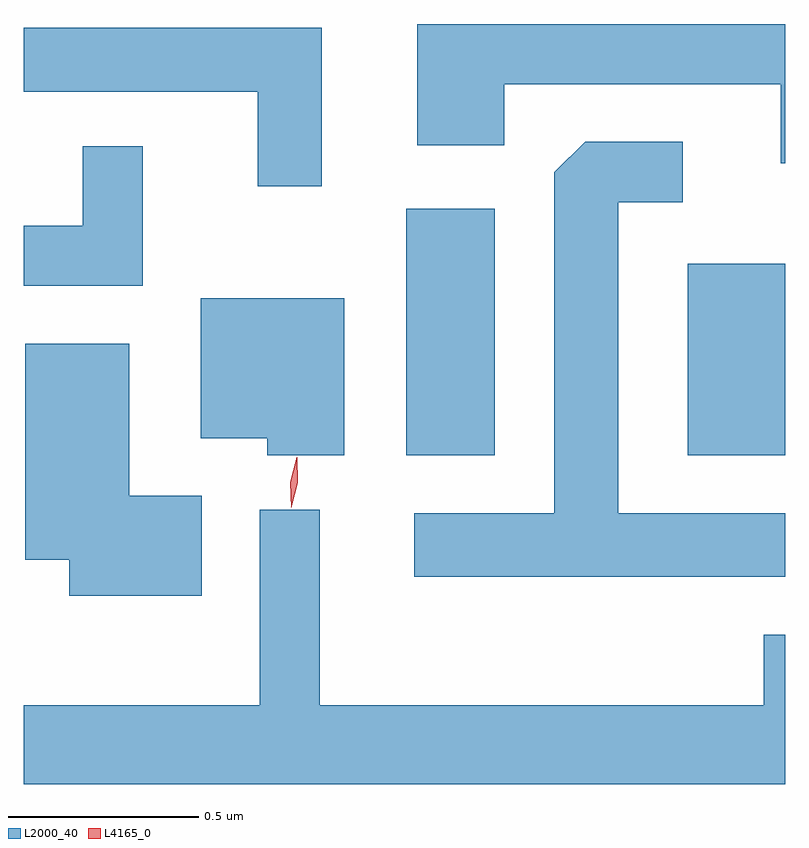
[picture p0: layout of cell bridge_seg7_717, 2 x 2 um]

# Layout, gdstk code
import gdstk
lib = gdstk.Library(unit=1e-6, precision=1e-09)
def R(c, l, rs):  # rectangles x0, y0, x1, y1
    for r in rs: c.add(gdstk.rectangle(r[:2], r[2:], *l))
def P(c, l, *ps):  # polygons
    for p in ps: c.add(gdstk.Polygon(p, *l))
L2000_40 = (2000, 40)
L4165_0 = (4165, 0)

bridge_seg7_717 = lib.new_cell('bridge_seg7_717')
R(bridge_seg7_717, L2000_40, [(963.431,1686.381,963.664,1687.029), (964.171,1686.381,964.427,1686.884)])
P(bridge_seg7_717, L2000_40, [(964.427,1687.514),(963.461,1687.514),(963.461,1687.196),(963.689,1687.196),(963.689,1687.356),(964.416,1687.356),(964.416,1687.148),(964.427,1687.148)],
  [(963.209,1687.504),(962.427,1687.504),(962.427,1687.336),(963.041,1687.336),(963.041,1687.088),(963.209,1687.088)],
  [(964.427,1686.229),(963.989,1686.229),(963.989,1687.046),(964.158,1687.046),(964.158,1687.204),(963.902,1687.204),(963.821,1687.124),(963.821,1686.229),(963.453,1686.229),(963.453,1686.061),(964.427,1686.061)],
  [(962.739,1687.193),(962.581,1687.193),(962.581,1686.984),(962.427,1686.984),(962.427,1686.826),(962.739,1686.826)],
  [(963.269,1686.794),(962.891,1686.794),(962.891,1686.426),(963.066,1686.426),(963.066,1686.381),(963.269,1686.381)],
  [(962.894,1686.274),(962.704,1686.274),(962.704,1686.674),(962.431,1686.674),(962.431,1686.106),(962.546,1686.106),(962.546,1686.011),(962.894,1686.011)],
  [(964.427,1685.909),(964.371,1685.909),(964.371,1685.724),(963.204,1685.724),(963.204,1686.238),(963.046,1686.238),(963.046,1685.724),(962.427,1685.724),(962.427,1685.517),(964.427,1685.517)])
P(bridge_seg7_717, L4165_0, [(963.129,1686.243),(963.129,1686.243),(963.127,1686.31),(963.144,1686.375),(963.145,1686.376),(963.145,1686.375),(963.147,1686.308),(963.13,1686.243)])

lib.write_gds('bridge_seg7_717.gds')
